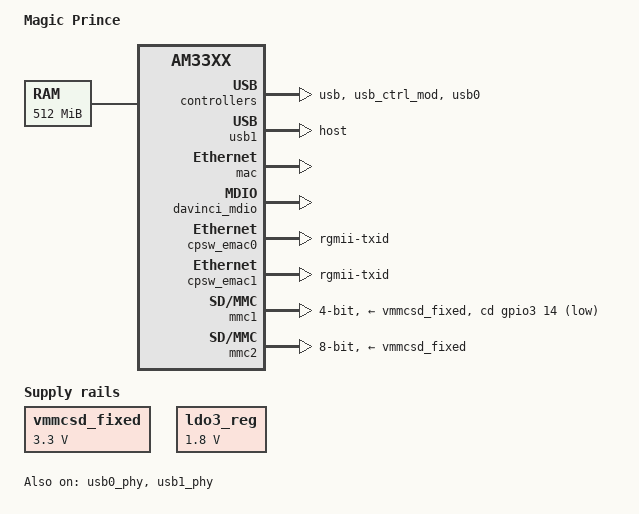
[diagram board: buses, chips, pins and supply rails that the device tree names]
/*
 * Copyright (C) 2012 Texas Instruments Incorporated - http://www.ti.com/
 *
 * This program is free software; you can redistribute it and/or modify
 * it under the terms of the GNU General Public License version 2 as
 * published by the Free Software Foundation.
 */
/dts-v1/;

#include "am33xx.dtsi"
#include "am335x-bone-common.dtsi"

/ {
	model = "Magic Prince";
	compatible = "ti,am335x-aboc", "ti,am335x-bone", "ti,am33xx";

	memory {
		device_type = "memory";
		reg = <0x80000000 0x20000000>; /* 512 MB */
	};

	chosen {
		stdout-path = &uart0;
		tick-timer = &timer2;
	};

	vmmcsd_fixed: fixedregulator@0 {
		compatible = "regulator-fixed";
		regulator-name = "vmmcsd_fixed";
		regulator-min-microvolt = <3300000>;
		regulator-max-microvolt = <3300000>;
	};
};

&am33xx_pinmux {

	lcd_pins_default: lcd_pins_default {
		pinctrl-single,pins = <
			AM33XX_IOPAD(0x820, PIN_OUTPUT | MUX_MODE1)	/* gpmc_ad8.lcd_data23 */
			AM33XX_IOPAD(0x824, PIN_OUTPUT | MUX_MODE1)	/* gpmc_ad9.lcd_data22 */
			AM33XX_IOPAD(0x828, PIN_OUTPUT | MUX_MODE1)	/* gpmc_ad10.lcd_data21 */
			AM33XX_IOPAD(0x82c, PIN_OUTPUT | MUX_MODE1)	/* gpmc_ad11.lcd_data20 */
			AM33XX_IOPAD(0x830, PIN_OUTPUT | MUX_MODE1)	/* gpmc_ad12.lcd_data19 */
			AM33XX_IOPAD(0x834, PIN_OUTPUT | MUX_MODE1)	/* gpmc_ad13.lcd_data18 */
			AM33XX_IOPAD(0x838, PIN_OUTPUT | MUX_MODE1)	/* gpmc_ad14.lcd_data17 */
			AM33XX_IOPAD(0x83c, PIN_OUTPUT | MUX_MODE1)	/* gpmc_ad15.lcd_data16 */
			AM33XX_IOPAD(0x8a0, PIN_OUTPUT | MUX_MODE0)	/* lcd_data0.lcd_data0 */
			AM33XX_IOPAD(0x8a4, PIN_OUTPUT | MUX_MODE0)	/* lcd_data1.lcd_data1 */
			AM33XX_IOPAD(0x8a8, PIN_OUTPUT | MUX_MODE0)	/* lcd_data2.lcd_data2 */
			AM33XX_IOPAD(0x8ac, PIN_OUTPUT | MUX_MODE0)	/* lcd_data3.lcd_data3 */
			AM33XX_IOPAD(0x8b0, PIN_OUTPUT | MUX_MODE0)	/* lcd_data4.lcd_data4 */
			AM33XX_IOPAD(0x8b4, PIN_OUTPUT | MUX_MODE0)	/* lcd_data5.lcd_data5 */
			AM33XX_IOPAD(0x8b8, PIN_OUTPUT | MUX_MODE0)	/* lcd_data6.lcd_data6 */
			AM33XX_IOPAD(0x8bc, PIN_OUTPUT | MUX_MODE0)	/* lcd_data7.lcd_data7 */
			AM33XX_IOPAD(0x8c0, PIN_OUTPUT | MUX_MODE0)	/* lcd_data8.lcd_data8 */
			AM33XX_IOPAD(0x8c4, PIN_OUTPUT | MUX_MODE0)	/* lcd_data9.lcd_data9 */
			AM33XX_IOPAD(0x8c8, PIN_OUTPUT | MUX_MODE0)	/* lcd_data10.lcd_data10 */
			AM33XX_IOPAD(0x8cc, PIN_OUTPUT | MUX_MODE0)	/* lcd_data11.lcd_data11 */
			AM33XX_IOPAD(0x8d0, PIN_OUTPUT | MUX_MODE0)	/* lcd_data12.lcd_data12 */
			AM33XX_IOPAD(0x8d4, PIN_OUTPUT | MUX_MODE0)	/* lcd_data13.lcd_data13 */
			AM33XX_IOPAD(0x8d8, PIN_OUTPUT | MUX_MODE0)	/* lcd_data14.lcd_data14 */
			AM33XX_IOPAD(0x8dc, PIN_OUTPUT | MUX_MODE0)	/* lcd_data15.lcd_data15 */
			AM33XX_IOPAD(0x8e0, PIN_OUTPUT | MUX_MODE0)	/* lcd_vsync.lcd_vsync */
			AM33XX_IOPAD(0x8e4, PIN_OUTPUT | MUX_MODE0)	/* lcd_hsync.lcd_hsync */
			AM33XX_IOPAD(0x8e8, PIN_OUTPUT | MUX_MODE0)	/* lcd_pclk.lcd_pclk */
			AM33XX_IOPAD(0x8ec, PIN_OUTPUT | MUX_MODE0)	/* lcd_ac_bias_en.lcd_ac_bias_en */
		>;
	};

	lcd_pins_sleep: lcd_pins_sleep {
		pinctrl-single,pins = <
			AM33XX_IOPAD(0x820, PIN_INPUT_PULLDOWN | MUX_MODE7)	/* gpmc_ad8.lcd_data23 */
			AM33XX_IOPAD(0x824, PIN_INPUT_PULLDOWN | MUX_MODE7)	/* gpmc_ad9.lcd_data22 */
			AM33XX_IOPAD(0x828, PIN_INPUT_PULLDOWN | MUX_MODE7)	/* gpmc_ad10.lcd_data21 */
			AM33XX_IOPAD(0x82c, PIN_INPUT_PULLDOWN | MUX_MODE7)	/* gpmc_ad11.lcd_data20 */
			AM33XX_IOPAD(0x830, PIN_INPUT_PULLDOWN | MUX_MODE7)	/* gpmc_ad12.lcd_data19 */
			AM33XX_IOPAD(0x834, PIN_INPUT_PULLDOWN | MUX_MODE7)	/* gpmc_ad13.lcd_data18 */
			AM33XX_IOPAD(0x838, PIN_INPUT_PULLDOWN | MUX_MODE7)	/* gpmc_ad14.lcd_data17 */
			AM33XX_IOPAD(0x83c, PIN_INPUT_PULLDOWN | MUX_MODE7)	/* gpmc_ad15.lcd_data16 */
			AM33XX_IOPAD(0x8a0, PULL_DISABLE | MUX_MODE7)	/* lcd_data0.lcd_data0 */
			AM33XX_IOPAD(0x8a4, PULL_DISABLE | MUX_MODE7)	/* lcd_data1.lcd_data1 */
			AM33XX_IOPAD(0x8a8, PULL_DISABLE | MUX_MODE7)	/* lcd_data2.lcd_data2 */
			AM33XX_IOPAD(0x8ac, PULL_DISABLE | MUX_MODE7)	/* lcd_data3.lcd_data3 */
			AM33XX_IOPAD(0x8b0, PULL_DISABLE | MUX_MODE7)	/* lcd_data4.lcd_data4 */
			AM33XX_IOPAD(0x8b4, PULL_DISABLE | MUX_MODE7)	/* lcd_data5.lcd_data5 */
			AM33XX_IOPAD(0x8b8, PULL_DISABLE | MUX_MODE7)	/* lcd_data6.lcd_data6 */
			AM33XX_IOPAD(0x8bc, PULL_DISABLE | MUX_MODE7)	/* lcd_data7.lcd_data7 */
			AM33XX_IOPAD(0x8c0, PULL_DISABLE | MUX_MODE7)	/* lcd_data8.lcd_data8 */
			AM33XX_IOPAD(0x8c4, PULL_DISABLE | MUX_MODE7)	/* lcd_data9.lcd_data9 */
			AM33XX_IOPAD(0x8c8, PULL_DISABLE | MUX_MODE7)	/* lcd_data10.lcd_data10 */
			AM33XX_IOPAD(0x8cc, PULL_DISABLE | MUX_MODE7)	/* lcd_data11.lcd_data11 */
			AM33XX_IOPAD(0x8d0, PULL_DISABLE | MUX_MODE7)	/* lcd_data12.lcd_data12 */
			AM33XX_IOPAD(0x8d4, PULL_DISABLE | MUX_MODE7)	/* lcd_data13.lcd_data13 */
			AM33XX_IOPAD(0x8d8, PULL_DISABLE | MUX_MODE7)	/* lcd_data14.lcd_data14 */
			AM33XX_IOPAD(0x8dc, PULL_DISABLE | MUX_MODE7)	/* lcd_data15.lcd_data15 */
			AM33XX_IOPAD(0x8e0, PIN_INPUT_PULLDOWN | MUX_MODE7)	/* lcd_vsync.lcd_vsync */
			AM33XX_IOPAD(0x8e4, PIN_INPUT_PULLDOWN | MUX_MODE7)	/* lcd_hsync.lcd_hsync */
			AM33XX_IOPAD(0x8e8, PIN_INPUT_PULLDOWN | MUX_MODE7)	/* lcd_pclk.lcd_pclk */
			AM33XX_IOPAD(0x8ec, PIN_INPUT_PULLDOWN | MUX_MODE7)	/* lcd_ac_bias_en.lcd_ac_bias_en */
		>;
	};

	cpsw_default: cpsw_default {
		pinctrl-single,pins = <
			/* Slave 1 */
			AM33XX_IOPAD(0x914, PIN_OUTPUT_PULLDOWN | MUX_MODE2)	/* mii1_txen.rgmii1_tctl */
			AM33XX_IOPAD(0x918, PIN_INPUT_PULLDOWN | MUX_MODE2)	/* mii1_rxdv.rgmii1_rctl */
			AM33XX_IOPAD(0x91c, PIN_OUTPUT_PULLDOWN | MUX_MODE2)	/* mii1_txd3.rgmii1_td3 */
			AM33XX_IOPAD(0x920, PIN_OUTPUT_PULLDOWN | MUX_MODE2)	/* mii1_txd2.rgmii1_td2 */
			AM33XX_IOPAD(0x924, PIN_OUTPUT_PULLDOWN | MUX_MODE2)	/* mii1_txd1.rgmii1_td1 */
			AM33XX_IOPAD(0x928, PIN_OUTPUT_PULLDOWN | MUX_MODE2)	/* mii1_txd0.rgmii1_td0 */
			AM33XX_IOPAD(0x92c, PIN_OUTPUT_PULLDOWN | MUX_MODE2)	/* mii1_txclk.rgmii1_tclk */
			AM33XX_IOPAD(0x930, PIN_INPUT_PULLDOWN | MUX_MODE2)	/* mii1_rxclk.rgmii1_rclk */
			AM33XX_IOPAD(0x934, PIN_INPUT_PULLDOWN | MUX_MODE2)	/* mii1_rxd3.rgmii1_rd3 */
			AM33XX_IOPAD(0x938, PIN_INPUT_PULLDOWN | MUX_MODE2)	/* mii1_rxd2.rgmii1_rd2 */
			AM33XX_IOPAD(0x93c, PIN_INPUT_PULLDOWN | MUX_MODE2)	/* mii1_rxd1.rgmii1_rd1 */
			AM33XX_IOPAD(0x940, PIN_INPUT_PULLDOWN | MUX_MODE2)	/* mii1_rxd0.rgmii1_rd0 */

			/* Slave 2 */
			AM33XX_IOPAD(0x840, PIN_OUTPUT_PULLDOWN | MUX_MODE2)	/* gpmc_a0.rgmii2_tctl */
			AM33XX_IOPAD(0x844, PIN_INPUT_PULLDOWN | MUX_MODE2)	/* gpmc_a1.rgmii2_rctl */
			AM33XX_IOPAD(0x848, PIN_OUTPUT_PULLDOWN | MUX_MODE2)	/* gpmc_a2.rgmii2_td3 */
			AM33XX_IOPAD(0x84c, PIN_OUTPUT_PULLDOWN | MUX_MODE2)	/* gpmc_a3.rgmii2_td2 */
			AM33XX_IOPAD(0x850, PIN_OUTPUT_PULLDOWN | MUX_MODE2)	/* gpmc_a4.rgmii2_td1 */
			AM33XX_IOPAD(0x854, PIN_OUTPUT_PULLDOWN | MUX_MODE2)	/* gpmc_a5.rgmii2_td0 */
			AM33XX_IOPAD(0x858, PIN_OUTPUT_PULLDOWN | MUX_MODE2)	/* gpmc_a6.rgmii2_tclk */
			AM33XX_IOPAD(0x85c, PIN_INPUT_PULLDOWN | MUX_MODE2)	/* gpmc_a7.rgmii2_rclk */
			AM33XX_IOPAD(0x860, PIN_INPUT_PULLDOWN | MUX_MODE2)	/* gpmc_a8.rgmii2_rd3 */
			AM33XX_IOPAD(0x864, PIN_INPUT_PULLDOWN | MUX_MODE2)	/* gpmc_a9.rgmii2_rd2 */
			AM33XX_IOPAD(0x868, PIN_INPUT_PULLDOWN | MUX_MODE2)	/* gpmc_a10.rgmii2_rd1 */
			AM33XX_IOPAD(0x86c, PIN_INPUT_PULLDOWN | MUX_MODE2)	/* gpmc_a11.rgmii2_rd0 */
		>;
	};

	cpsw_sleep: cpsw_sleep {
		pinctrl-single,pins = <
			/* Slave 1 reset value */
			AM33XX_IOPAD(0x914, PIN_INPUT_PULLDOWN | MUX_MODE7)
			AM33XX_IOPAD(0x918, PIN_INPUT_PULLDOWN | MUX_MODE7)
			AM33XX_IOPAD(0x91c, PIN_INPUT_PULLDOWN | MUX_MODE7)
			AM33XX_IOPAD(0x920, PIN_INPUT_PULLDOWN | MUX_MODE7)
			AM33XX_IOPAD(0x924, PIN_INPUT_PULLDOWN | MUX_MODE7)
			AM33XX_IOPAD(0x928, PIN_INPUT_PULLDOWN | MUX_MODE7)
			AM33XX_IOPAD(0x92c, PIN_INPUT_PULLDOWN | MUX_MODE7)
			AM33XX_IOPAD(0x930, PIN_INPUT_PULLDOWN | MUX_MODE7)
			AM33XX_IOPAD(0x934, PIN_INPUT_PULLDOWN | MUX_MODE7)
			AM33XX_IOPAD(0x938, PIN_INPUT_PULLDOWN | MUX_MODE7)
			AM33XX_IOPAD(0x93c, PIN_INPUT_PULLDOWN | MUX_MODE7)
			AM33XX_IOPAD(0x940, PIN_INPUT_PULLDOWN | MUX_MODE7)

			/* Slave 2 reset value*/
			AM33XX_IOPAD(0x840, PIN_INPUT_PULLDOWN | MUX_MODE7)
			AM33XX_IOPAD(0x844, PIN_INPUT_PULLDOWN | MUX_MODE7)
			AM33XX_IOPAD(0x848, PIN_INPUT_PULLDOWN | MUX_MODE7)
			AM33XX_IOPAD(0x84c, PIN_INPUT_PULLDOWN | MUX_MODE7)
			AM33XX_IOPAD(0x850, PIN_INPUT_PULLDOWN | MUX_MODE7)
			AM33XX_IOPAD(0x854, PIN_INPUT_PULLDOWN | MUX_MODE7)
			AM33XX_IOPAD(0x858, PIN_INPUT_PULLDOWN | MUX_MODE7)
			AM33XX_IOPAD(0x85c, PIN_INPUT_PULLDOWN | MUX_MODE7)
			AM33XX_IOPAD(0x860, PIN_INPUT_PULLDOWN | MUX_MODE7)
			AM33XX_IOPAD(0x864, PIN_INPUT_PULLDOWN | MUX_MODE7)
			AM33XX_IOPAD(0x868, PIN_INPUT_PULLDOWN | MUX_MODE7)
			AM33XX_IOPAD(0x86c, PIN_INPUT_PULLDOWN | MUX_MODE7)
		>;
	};


	davinci_mdio_default: davinci_mdio_default {
		pinctrl-single,pins = <
			/* MDIO */
			AM33XX_IOPAD(0x948, PIN_INPUT_PULLUP | SLEWCTRL_FAST | MUX_MODE0)	/* mdio_data.mdio_data */
			AM33XX_IOPAD(0x94c, PIN_OUTPUT_PULLUP | MUX_MODE0)			/* mdio_clk.mdio_clk */
		>;
	};

	davinci_mdio_sleep: davinci_mdio_sleep {
		pinctrl-single,pins = <
			/* MDIO reset value */
			AM33XX_IOPAD(0x948, PIN_INPUT_PULLDOWN | MUX_MODE7)
			AM33XX_IOPAD(0x94c, PIN_INPUT_PULLDOWN | MUX_MODE7)
		>;
	};

	mmc1_pins: pinmux_mmc1_pins {
		pinctrl-single,pins = <
		 	0x0F0 (PIN_INPUT | MUX_MODE0)    /* mmc0_dat3.mmc0_dat3 */
            0x0F4 (PIN_INPUT | MUX_MODE0)    /* mmc0_dat2.mmc0_dat2 */
            0x0F8 (PIN_INPUT | MUX_MODE0)    /* mmc0_dat1.mmc0_dat1 */
            0x0FC (PIN_INPUT | MUX_MODE0)    /* mmc0_dat0.mmc0_dat0 */
            0x100 (PIN_INPUT | MUX_MODE0)    /* mmc0_clk.mmc0_clk */
            0x104 (PIN_INPUT | MUX_MODE0)    /* mmc0_cmd.mmc0_cmd */
		>;
	};

	mcasp1_pins: mcasp1_pins {
		pinctrl-single,pins = <
			AM33XX_IOPAD(0x90c, PIN_INPUT_PULLDOWN | MUX_MODE4) /* mii1_crs.mcasp1_aclkx */
			AM33XX_IOPAD(0x910, PIN_INPUT_PULLDOWN | MUX_MODE4) /* mii1_rxerr.mcasp1_fsx */
			AM33XX_IOPAD(0x908, PIN_OUTPUT_PULLDOWN | MUX_MODE4) /* mii1_col.mcasp1_axr2 */
			AM33XX_IOPAD(0x944, PIN_INPUT_PULLDOWN | MUX_MODE4) /* rmii1_ref_clk.mcasp1_axr3 */
		>;
	};

	mcasp1_pins_sleep: mcasp1_pins_sleep {
		pinctrl-single,pins = <
			AM33XX_IOPAD(0x90c, PIN_INPUT_PULLDOWN | MUX_MODE7)
			AM33XX_IOPAD(0x910, PIN_INPUT_PULLDOWN | MUX_MODE7)
			AM33XX_IOPAD(0x908, PIN_INPUT_PULLDOWN | MUX_MODE7)
			AM33XX_IOPAD(0x944, PIN_INPUT_PULLDOWN | MUX_MODE7)
		>;
	};
};

&usb {
	status = "okay";
};

&usb_ctrl_mod {
	status = "okay";
};

&usb0_phy {
	status = "okay";
};

&usb1_phy {
	status = "okay";
};

&usb0 {
	status = "okay";
};

&usb1 {
	status = "okay";
	dr_mode = "host";
};


&ldo3_reg {
	regulator-min-microvolt = <1800000>;
	regulator-max-microvolt = <1800000>;
	regulator-always-on;
};

&mac {
	pinctrl-names = "default", "sleep";
	pinctrl-0 = <&cpsw_default>;
	pinctrl-1 = <&cpsw_sleep>;
	dual_emac = <1>;
	status = "okay";
};

&davinci_mdio {
	pinctrl-names = "default", "sleep";
	pinctrl-0 = <&davinci_mdio_default>;
	pinctrl-1 = <&davinci_mdio_sleep>;
	status = "okay";
};

&cpsw_emac0 {
	phy_id = <&davinci_mdio>, <0>;
	phy-mode = "rgmii-txid";
	dual_emac_res_vlan = <1>;
};

&cpsw_emac1 {
	phy_id = <&davinci_mdio>, <1>;
	phy-mode = "rgmii-txid";
	dual_emac_res_vlan = <2>;
};

&mmc1 {
	vmmc-supply = <&vmmcsd_fixed>;
	status = "okay";
	bus-width = <0x4>;
	pinctrl-names = "default";
	pinctrl-0 = <&mmc1_pins>;
	cd-gpios = <&gpio3 14 GPIO_ACTIVE_LOW>;
};

&mmc2 {
	vmmc-supply = <&vmmcsd_fixed>;
	pinctrl-names = "default";
	pinctrl-0 = <&emmc_pins>;
	bus-width = <8>;
	status = "okay";
};

